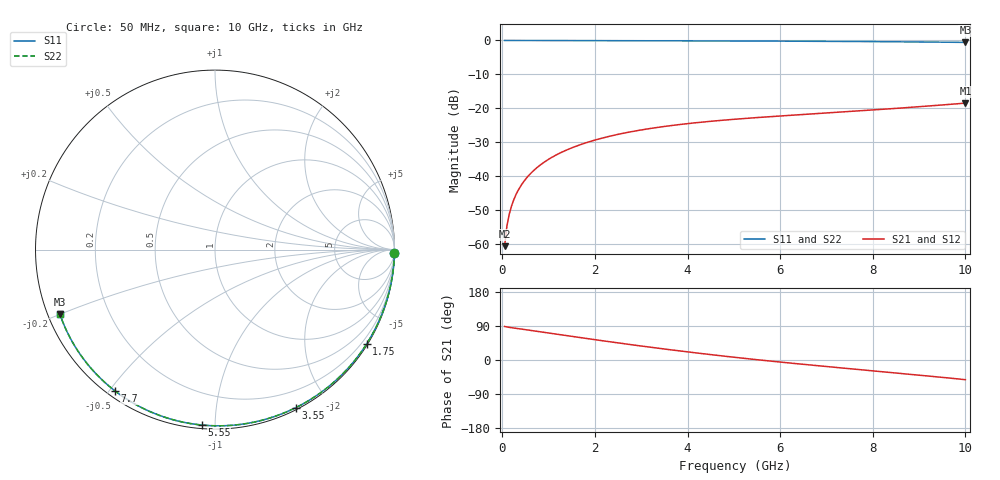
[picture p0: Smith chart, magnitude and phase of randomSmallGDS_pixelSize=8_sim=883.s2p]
! freq	dB(S11)	phase(S11)	dB(S12)	phase(S12)
!  dB(S21)	phase(S21)	dB(S22)	phase(S22)
!S-par simulation data
#  GHz  S  DB  R 50
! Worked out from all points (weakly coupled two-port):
!   200 points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, 50 MHz to 10 GHz, reference 50 ohm
!   highest |S21| = -18.46 dB at 10 GHz (marker M1); lowest = -60.6 dB at 50 MHz (marker M2)
!   lowest |S11| = -0.6 dB at 10 GHz (marker M3), VSWR 30.33, Z = 1.71 - j10 ohm
!   |S11| at or under -10 dB: nowhere
!   |S22| runs from -0.6 to 0.0 dB; largest |S21 - S12| = 0
!   S11 on the Smith chart (normalised r, x): 50 MHz: open; 1.75 GHz: 0.03, -3.49; 3.55 GHz: 0.02, -1.64; 5.55 GHz: 0.02, -0.93; 7.7 GHz: 0.02, -0.52; 10 GHz: 0.03, -0.20
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0.05  -0.00 -0.9  -60.59 88.4  -60.59 88.4  -0.00 -0.9
0.1  -0.00 -1.9  -54.63 87.1  -54.63 87.1  -0.00 -1.9
0.15  -0.00 -2.8  -51.18 86.1  -51.18 86.1  -0.00 -2.8
0.2  -0.00 -3.7  -48.73 85.2  -48.73 85.2  -0.00 -3.7
0.25  -0.00 -4.7  -46.83 84.3  -46.83 84.3  -0.00 -4.7
0.35  -0.00 -6.5  -43.95 82.7  -43.95 82.7  -0.01 -6.5
0.5  -0.01 -9.3  -40.90 80.1  -40.90 80.1  -0.01 -9.3
0.7  -0.02 -13.0  -38.02 76.6  -38.02 76.6  -0.02 -13.0
1  -0.02 -18.4  -35.00 71.3  -35.00 71.3  -0.02 -18.4
1.35  -0.03 -24.8  -32.49 65.0  -32.49 65.0  -0.03 -24.8
1.75  -0.04 -31.9  -30.39 58.0  -30.39 58.0  -0.04 -32.0
2.5  -0.06 -45.1  -27.65 45.1  -27.65 45.1  -0.06 -45.1
3.4  -0.09 -60.4  -25.52 30.5  -25.52 30.5  -0.09 -60.4
3.55  -0.10 -62.9  -25.24 28.2  -25.24 28.2  -0.10 -62.9
4.3  -0.12 -75.0  -24.07 17.0  -24.07 17.0  -0.12 -75.1
5.05  -0.15 -86.7  -23.17 6.7  -23.17 6.7  -0.15 -86.8
5.55  -0.17 -94.3  -22.66 0.1  -22.66 0.1  -0.17 -94.3
6.7  -0.24 -111.1  -21.64 -13.8  -21.64 -13.8  -0.24 -111.2
7.7  -0.31 -125.2  -20.76 -25.1  -20.76 -25.1  -0.31 -125.3
8.35  -0.37 -134.3  -20.16 -32.4  -20.16 -32.4  -0.37 -134.3
9.2  -0.47 -146.1  -19.31 -42.2  -19.31 -42.2  -0.47 -146.1
10  -0.57 -157.3  -18.46 -51.9  -18.46 -51.9  -0.57 -157.4
